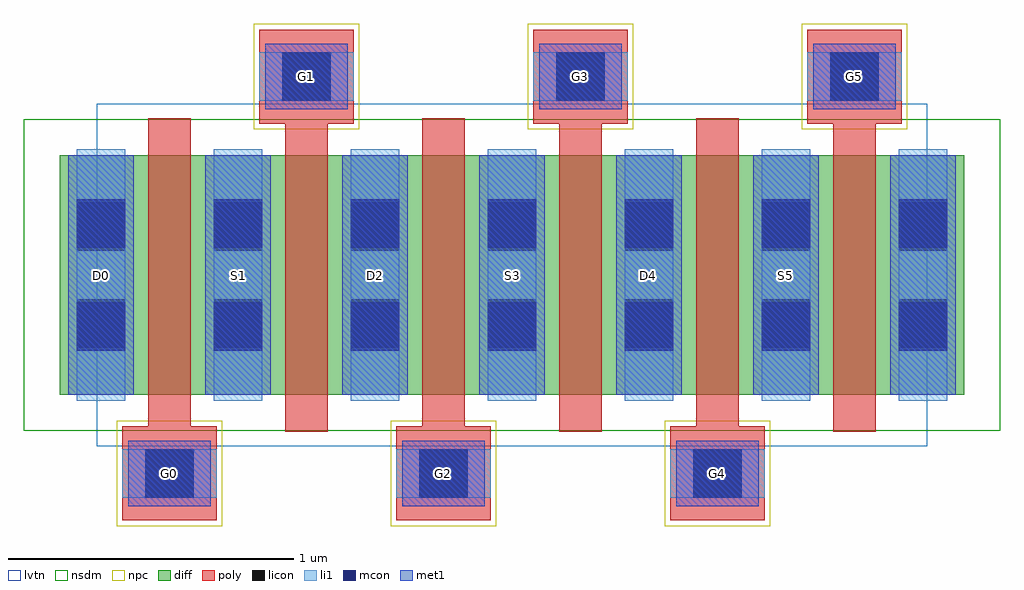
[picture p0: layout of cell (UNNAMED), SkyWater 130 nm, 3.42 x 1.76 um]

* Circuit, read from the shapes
.subckt (UNNAMED) D0 D2 D4 G0 G1 G2 G3 G4 G5 S1 S3 S5
XM1 S1 G0 D0 VSUBS sky130_fd_pr__nfet_01v8_lvt w=0.84 l=0.15
XM2 D2 G1 S1 VSUBS sky130_fd_pr__nfet_01v8_lvt w=0.84 l=0.15
XM3 S3 G2 D2 VSUBS sky130_fd_pr__nfet_01v8_lvt w=0.84 l=0.15
XM4 D4 G3 S3 VSUBS sky130_fd_pr__nfet_01v8_lvt w=0.84 l=0.15
XM5 S5 G4 D4 VSUBS sky130_fd_pr__nfet_01v8_lvt w=0.84 l=0.15
XM6 n1 G5 S5 VSUBS sky130_fd_pr__nfet_01v8_lvt w=0.84 l=0.15
.ends

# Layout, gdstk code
import gdstk
lib = gdstk.Library(unit=1e-6, precision=1e-09)
def R(c, l, rs):  # rectangles x0, y0, x1, y1
    for r in rs: c.add(gdstk.rectangle(r[:2], r[2:], *l))
def A(c, l, x, y, w, h, nx, ny, dx, dy):  # array of equal rectangles
    R(c, l, [(x+i*dx, y+j*dy, x+i*dx+w, y+j*dy+h) for i in range(nx) for j in range(ny)])
diff = (65, 20)
poly = (66, 20)
licon = (66, 44)
li1 = (67, 20)
mcon = (67, 44)
met1 = (68, 20)
nsdm = (93, 44)
npc = (95, 20)
lvtn = (125, 44)

c__unnamed_ = lib.new_cell('(UNNAMED)')
R(c__unnamed_, diff, [(-1.585,-0.42,1.585,0.42)])
A(c__unnamed_, poly, -1.365, -0.86, 0.33, 0.33, 3, 1, 0.96, 0)
A(c__unnamed_, poly, -0.795, -0.55, 0.15, 1.08, 3, 1, 0.96, 0)
A(c__unnamed_, poly, -1.275, -0.53, 0.15, 1.08, 3, 1, 0.96, 0)
A(c__unnamed_, poly, -0.885, 0.53, 0.33, 0.33, 3, 1, 0.96, 0)
A(c__unnamed_, licon, -1.285, -0.78, 0.17, 0.17, 3, 1, 0.96, 0)
A(c__unnamed_, licon, -1.525, -0.255, 0.17, 0.17, 7, 2, 0.48, 0.34)
A(c__unnamed_, licon, -0.805, 0.61, 0.17, 0.17, 3, 1, 0.96, 0)
A(c__unnamed_, li1, -1.365, -0.78, 0.33, 0.17, 3, 1, 0.96, 0)
A(c__unnamed_, li1, -1.525, -0.44, 0.17, 0.88, 7, 1, 0.48, 0)
A(c__unnamed_, li1, -0.885, 0.61, 0.33, 0.17, 3, 1, 0.96, 0)
A(c__unnamed_, mcon, -1.285, -0.78, 0.17, 0.17, 3, 1, 0.96, 0)
A(c__unnamed_, mcon, -1.525, -0.265, 0.17, 0.17, 7, 2, 0.48, 0.36)
A(c__unnamed_, mcon, -0.805, 0.61, 0.17, 0.17, 3, 1, 0.96, 0)
A(c__unnamed_, met1, -1.345, -0.81, 0.29, 0.23, 3, 1, 0.96, 0)
A(c__unnamed_, met1, -1.555, -0.42, 0.23, 0.84, 7, 1, 0.48, 0)
A(c__unnamed_, met1, -0.865, 0.58, 0.29, 0.23, 3, 1, 0.96, 0)
R(c__unnamed_, nsdm, [(-1.71,-0.545,1.71,0.545)])
A(c__unnamed_, npc, -1.385, -0.88, 0.37, 0.37, 3, 1, 0.96, 0)
A(c__unnamed_, npc, -0.905, 0.51, 0.37, 0.37, 3, 1, 0.96, 0)
R(c__unnamed_, lvtn, [(-1.455,-0.6,1.455,0.6)])
c__unnamed_.add(gdstk.Label('D0', (-1.44,0), layer=67, texttype=5))
c__unnamed_.add(gdstk.Label('G0', (-1.2,-0.695), layer=67, texttype=5))
c__unnamed_.add(gdstk.Label('S1', (-0.96,0), layer=67, texttype=5))
c__unnamed_.add(gdstk.Label('G1', (-0.72,0.695), layer=67, texttype=5))
c__unnamed_.add(gdstk.Label('D2', (-0.48,0), layer=67, texttype=5))
c__unnamed_.add(gdstk.Label('G2', (-0.24,-0.695), layer=67, texttype=5))
c__unnamed_.add(gdstk.Label('S3', (0,0), layer=67, texttype=5))
c__unnamed_.add(gdstk.Label('G3', (0.24,0.695), layer=67, texttype=5))
c__unnamed_.add(gdstk.Label('D4', (0.48,0), layer=67, texttype=5))
c__unnamed_.add(gdstk.Label('G4', (0.72,-0.695), layer=67, texttype=5))
c__unnamed_.add(gdstk.Label('S5', (0.96,0), layer=67, texttype=5))
c__unnamed_.add(gdstk.Label('G5', (1.2,0.695), layer=67, texttype=5))

lib.write_gds('_UNNAMED_.gds')
